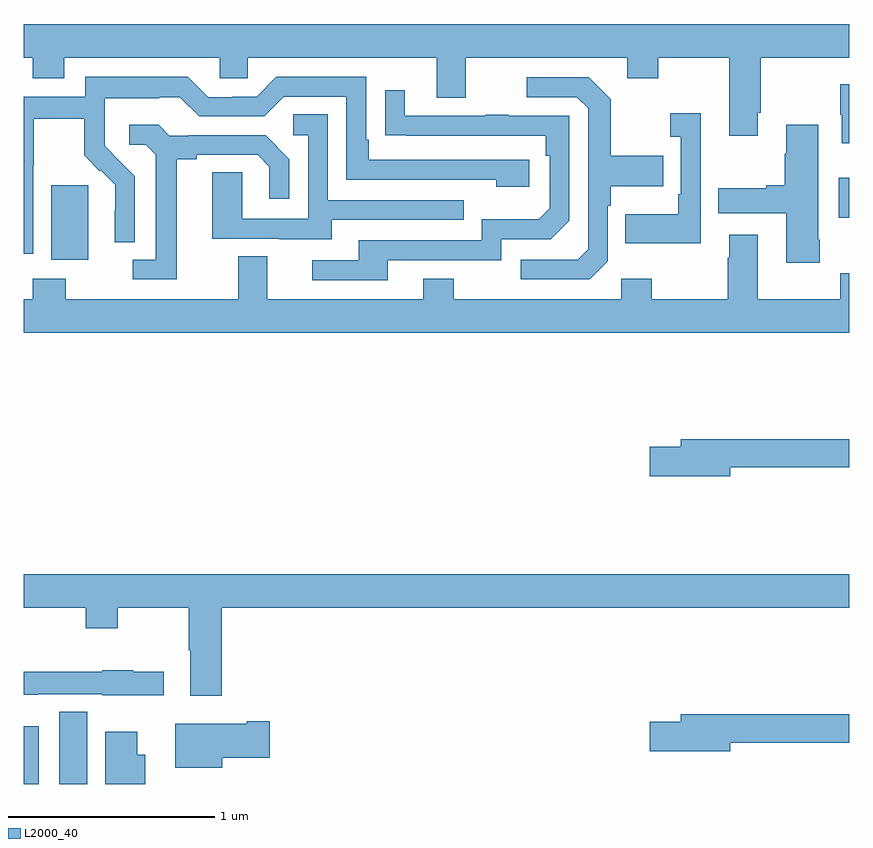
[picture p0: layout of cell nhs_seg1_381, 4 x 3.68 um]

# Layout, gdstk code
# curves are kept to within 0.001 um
import gdstk
lib = gdstk.Library(unit=1e-6, precision=1e-09)
def R(c, l, rs):  # rectangles x0, y0, x1, y1
    for r in rs: c.add(gdstk.rectangle(r[:2], r[2:], *l))
def P(c, l, *ps):  # polygons
    for p in ps: c.add(gdstk.Polygon(p, *l))
L2000_40 = (2000, 40)

nhs_seg1_381 = lib.new_cell('nhs_seg1_381')
R(nhs_seg1_381, L2000_40, [(131,564.199,131.074,564.478), (131.174,564.199,131.308,564.548), (131.135,566.738,131.314,567.099), (134.948,566.942,135,567.136)])
P(nhs_seg1_381, L2000_40, [(134.557,567.451),(134.57,567.451),(134.57,567.716),(135,567.716),(135,567.88),(131,567.88),(131,567.716),(131.045,567.716),(131.045,567.617),(131.197,567.617),(131.197,567.716),(131.949,567.716),(131.949,567.618),(132.087,567.618),(132.087,567.716),(133.001,567.716),(133.001,567.522),(133.141,567.522),(133.141,567.716),(133.925,567.716),(133.925,567.617),(134.073,567.617),(134.073,567.716),(134.417,567.716),(134.417,567.339),(134.557,567.339)],
  [(131.046,567.196),(131.049,567.196),(131.049,567.42),(131.293,567.42),(131.293,567.245),(131.37,567.168),(131.373,567.171),(131.444,567.101),(131.444,566.978),(131.442,566.978),(131.442,566.824),(131.538,566.824),(131.538,567.142),(131.392,567.29),(131.392,567.387),(131.394,567.387),(131.394,567.521),(131.657,567.521),(131.657,567.525),(131.757,567.525),(131.85,567.432),(132.165,567.432),(132.261,567.528),(132.564,567.528),(132.564,567.126),(133.289,567.126),(133.289,567.092),(133.45,567.092),(133.45,567.222),(132.673,567.222),(132.673,567.319),(132.66,567.319),(132.66,567.624),(132.225,567.624),(132.129,567.528),(132.011,567.528),(132.011,567.525),(131.895,567.525),(131.795,567.625),(131.298,567.625),(131.298,567.528),(131,567.528),(131,566.767),(131.046,566.767)],
  [(133.83,566.73),(133.83,566.999),(133.843,566.999),(133.843,567.095),(134.099,567.095),(134.099,567.243),(133.843,567.243),(133.843,567.515),(133.737,567.621),(133.437,567.621),(133.437,567.525),(133.68,567.525),(133.734,567.471),(133.734,566.79),(133.683,566.739),(133.407,566.739),(133.407,566.643),(133.743,566.643)],
  [(135,567.589),(134.956,567.589),(134.956,567.441),(134.963,567.441),(134.963,567.302),(135,567.302)],
  [(132.763,566.736),(133.314,566.736),(133.314,566.838),(133.554,566.838),(133.644,566.928),(133.644,567.435),(133.349,567.435),(133.349,567.44),(133.237,567.44),(133.237,567.435),(132.847,567.435),(132.847,567.559),(132.751,567.559),(132.751,567.34),(133.528,567.339),(133.528,567.242),(133.548,567.242),(133.548,566.988),(133.495,566.935),(133.218,566.935),(133.218,566.832),(132.623,566.832),(132.623,566.736),(132.399,566.736),(132.399,566.64),(132.763,566.64)],
  [(134.28,567.181),(134.281,567.181),(134.281,567.448),(134.133,567.448),(134.133,567.335),(134.184,567.335),(134.184,567.055),(134.172,567.055),(134.172,566.959),(133.915,566.959),(133.915,566.819),(134.28,566.819)],
  [(132.493,566.931),(133.133,566.931),(133.133,567.027),(132.474,567.027),(132.474,567.443),(132.306,567.443),(132.306,567.342),(132.378,567.342),(132.378,566.937),(132.06,566.937),(132.06,567.161),(131.915,567.161),(131.915,566.841),(132.239,566.841),(132.239,566.837),(132.493,566.837)],
  [(134.856,566.836),(134.848,566.836),(134.848,567.391),(134.693,567.391),(134.693,567.251),(134.686,567.251),(134.686,567.098),(134.597,567.098),(134.597,567.085),(134.365,567.085),(134.365,566.963),(134.693,566.963),(134.693,566.724),(134.856,566.724)],
  [(131.743,567.224),(131.839,567.224),(131.839,567.246),(132.134,567.246),(132.191,567.189),(132.191,567.033),(132.288,567.033),(132.288,567.226),(132.172,567.342),(131.8,567.342),(131.8,567.339),(131.706,567.339),(131.654,567.391),(131.511,567.391),(131.511,567.294),(131.592,567.294),(131.639,567.247),(131.639,566.739),(131.529,566.739),(131.529,566.643),(131.743,566.643)],
  [(135,566.672),(134.956,566.672),(134.956,566.548),(134.557,566.548),(134.557,566.86),(134.417,566.86),(134.417,566.747),(134.41,566.747),(134.41,566.548),(134.043,566.548),(134.043,566.647),(133.896,566.647),(133.896,566.548),(133.083,566.548),(133.083,566.647),(132.935,566.647),(132.935,566.548),(132.181,566.548),(132.181,566.756),(132.041,566.756),(132.041,566.548),(131.205,566.548),(131.205,566.647),(131.045,566.647),(131.045,566.548),(131,566.548),(131,566.384),(135,566.384)],
  [(134.422,565.732),(135,565.732),(135,565.868),(134.183,565.868),(134.183,565.832),(134.034,565.832),(134.034,565.69),(134.422,565.69)],
  [(131.96,565.052),(135,565.052),(135,565.216),(131,565.216),(131,565.052),(131.302,565.052),(131.302,564.953),(131.457,564.953),(131.457,565.052),(131.8,565.052),(131.8,564.848),(131.807,564.848),(131.807,564.627),(131.96,564.627)],
  [(131.68,564.742),(131.532,564.742),(131.532,564.751),(131.382,564.751),(131.382,564.742),(131,564.742),(131,564.632),(131.07,564.632),(131.07,564.633),(131.382,564.633),(131.382,564.629),(131.68,564.629)],
  [(134.422,564.4),(135,564.4),(135,564.536),(134.183,564.536),(134.183,564.5),(134.034,564.5),(134.034,564.358),(134.422,564.358)],
  [(131.962,564.325),(132.193,564.325),(132.193,564.503),(132.08,564.503),(132.08,564.49),(131.735,564.49),(131.735,564.278),(131.962,564.278)],
  [(131.59,564.34),(131.551,564.34),(131.551,564.451),(131.396,564.451),(131.396,564.199),(131.59,564.199)])

lib.write_gds('nhs_seg1_381.gds')
